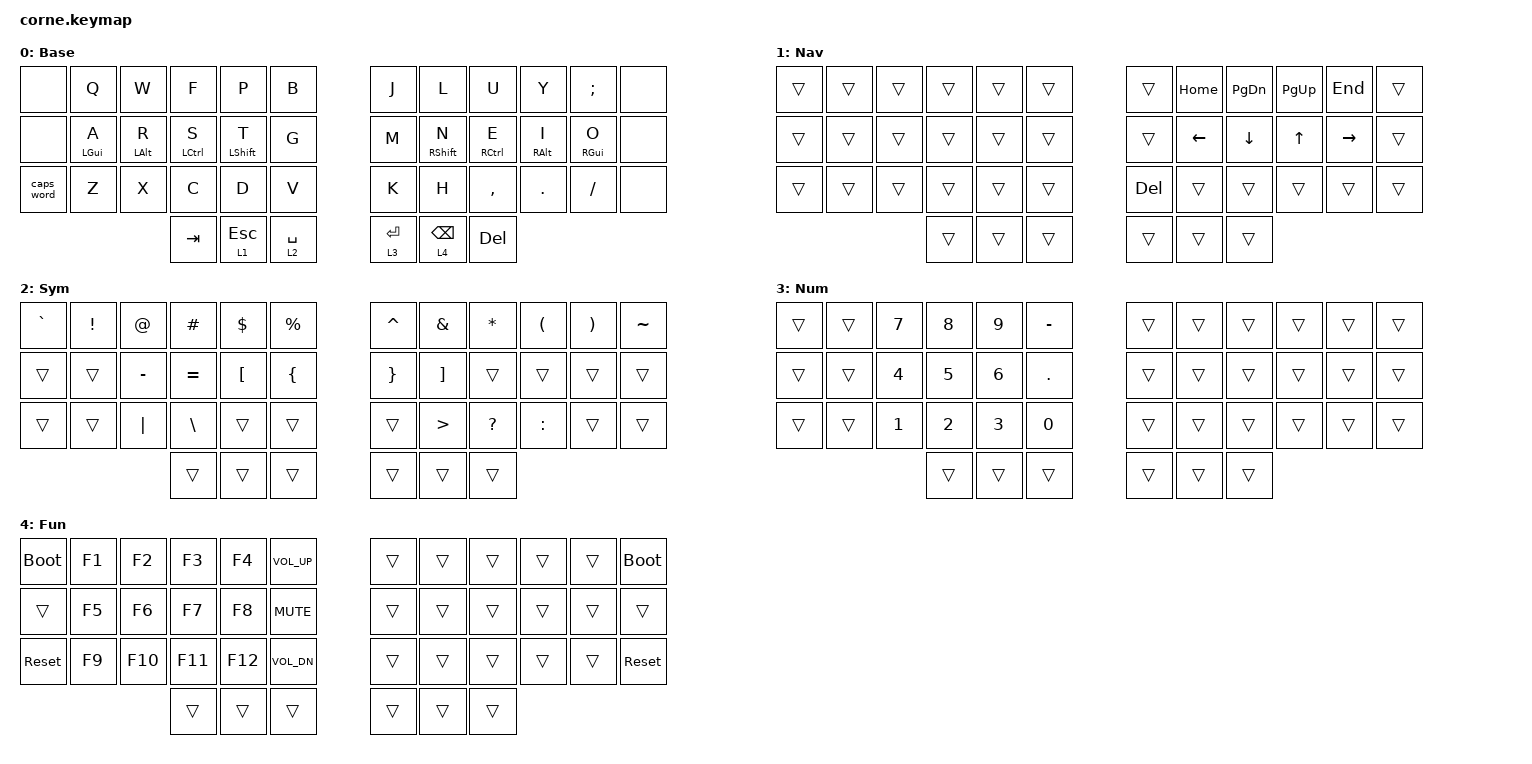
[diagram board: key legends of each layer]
/*
 * Copyright (c) 2020 The ZMK Contributors
 *
 * SPDX-License-Identifier: MIT
 */

#include <behaviors.dtsi>
#include <dt-bindings/zmk/bt.h>
#include <dt-bindings/zmk/keys.h>

/ {
    keymap {
        compatible = "zmk,keymap";

        Base {
            // -----------------------------------------------------------------------------------------
            // |      |  Q  |  W  |  F  |  P  |  B  |   |  J  |  L  |  U  |  Y  |  ;  |      |
            // |      |A/GUI|R/ALT|S/CTL|T/SFT|  G  |   |  M  |N/SFT|E/CTL|I/ALT|O/GUI|      |
            // | CAPSW|  Z  |  X  |  C  |  D  |  V  |   |  K  |  H  |  ,  |  .  |  /  |      |
            //                    | TAB | ESC | SPC |   | RET | BSP | DEL |
            //                          | Nav | Sym |   | Num | Fun |

            bindings = <
&none          &kp Q         &kp W         &kp F         &kp P         &kp B         &kp J   &kp L          &kp U          &kp Y          &kp SEMI       &none
&none          &mt LGUI A    &mt LALT R    &mt LCTRL S   &mt LSHFT T   &kp G         &kp M   &mt RSHFT N    &mt RCTRL E    &mt RALT I     &mt RGUI O     &none
&caps_word     &kp Z         &kp X         &kp C         &kp D         &kp V         &kp K   &kp H          &kp COMMA      &kp DOT        &kp FSLH       &none
                                           &kp TAB       &lt 1 ESC     &lt 2 SPACE   &lt 3 RET  &lt 4 BSPC  &kp DEL
            >;
        };

        Nav {
            // -----------------------------------------------------------------------------------------
            // |      |     |     |     |     |     |   |     | HOME| PGDN| PGUP| END |      |
            // |      |     |     |     |     |     |   |     | LEFT| DOWN|  UP |RIGHT|      |
            // |      |     |     |     |     |     |   | DEL |     |     |     |     |      |
            //                    |     |  *  |     |   |     |     |     |
            //                          |     |     |   |     |     |

            bindings = <
&trans  &trans  &trans  &trans  &trans  &trans        &trans  &kp HOME  &kp PG_DN  &kp PG_UP  &kp END    &trans
&trans  &trans  &trans  &trans  &trans  &trans        &trans  &kp LEFT  &kp DOWN   &kp UP     &kp RIGHT  &trans
&trans  &trans  &trans  &trans  &trans  &trans        &kp DEL &trans    &trans     &trans     &trans     &trans
                        &trans  &trans  &trans        &trans  &trans    &trans
            >;
        };

        Sym {
            // -----------------------------------------------------------------------------------------
            // |  `   |  !  |  @  |  #  |  $  |  %  |   |  ^  |  &  |  *  |  (  |  )  |  ~   |
            // |      |     |     |  -  |  =  |  [  |   |  {  |  }  |  ]  |     |     |      |
            // |      |     |     |  |  |  \  |     |   |     |  >  |  ?  |  :  |     |      |
            //                    |     |     |  *  |   |     |     |     |
            //                          |     |     |   |     |     |

            bindings = <
&kp GRAVE  &kp EXCL   &kp AT    &kp HASH  &kp DLLR  &kp PRCNT      &kp CARET  &kp AMPS   &kp ASTRK  &kp LPAR  &kp RPAR  &kp TILDE
&trans     &trans     &kp MINUS &kp EQUAL &kp LBKT  &kp LBRC       &kp RBRC   &kp RBKT   &trans     &trans    &trans    &trans
&trans     &trans     &kp PIPE  &kp BSLH  &trans    &trans         &trans     &kp GT     &kp QMARK  &kp COLON &trans    &trans
                                &trans    &trans     &trans        &trans     &trans     &trans
            >;
        };

        Num {
            // -----------------------------------------------------------------------------------------
            // |      |     |  7  |  8  |  9  |  -  |   |     |     |     |     |     |      |
            // |      |     |  4  |  5  |  6  |  .  |   |     |     |     |     |     |      |
            // |      |     |  1  |  2  |  3  |  0  |   |     |     |     |     |     |      |
            //                    |     |     |     |   |  *  |     |     |
            //                          |     |     |   |     |     |

            bindings = <
&trans  &trans  &kp N7  &kp N8  &kp N9  &kp MINUS      &trans  &trans  &trans  &trans  &trans  &trans
&trans  &trans  &kp N4  &kp N5  &kp N6  &kp DOT        &trans  &trans  &trans  &trans  &trans  &trans
&trans  &trans  &kp N1  &kp N2  &kp N3  &kp N0         &trans  &trans  &trans  &trans  &trans  &trans
                        &trans  &trans  &trans         &trans  &trans  &trans
            >;
        };

        Fun {
            // -----------------------------------------------------------------------------------------
            // |BOOT  | F1  | F2  | F3  | F4  |VOLUP|   |     |     |     |     |     |BOOT  |
            // |      | F5  | F6  | F7  | F8  |MUTE |   |     |     |     |     |     |      |
            // |RESET | F9  | F10 | F11 | F12 |VOLDN|   |     |     |     |     |     |RESET |
            //                    |     |     |     |   |     |     |  *  |
            //                          |     |     |   |     |     |

            bindings = <
&bootloader  &kp F1  &kp F2  &kp F3  &kp F4  &kp C_VOL_UP     &trans  &trans  &trans  &trans  &trans  &bootloader
&trans       &kp F5  &kp F6  &kp F7  &kp F8  &kp C_MUTE       &trans  &trans  &trans  &trans  &trans  &trans
&sys_reset   &kp F9  &kp F10 &kp F11 &kp F12 &kp C_VOL_DN     &trans  &trans  &trans  &trans  &trans  &sys_reset
                              &trans  &trans  &trans          &trans  &trans  &trans
            >;
        };
    };
};

&nice_view_spi { cs-gpios = <&pro_micro 16 GPIO_ACTIVE_HIGH>; };
